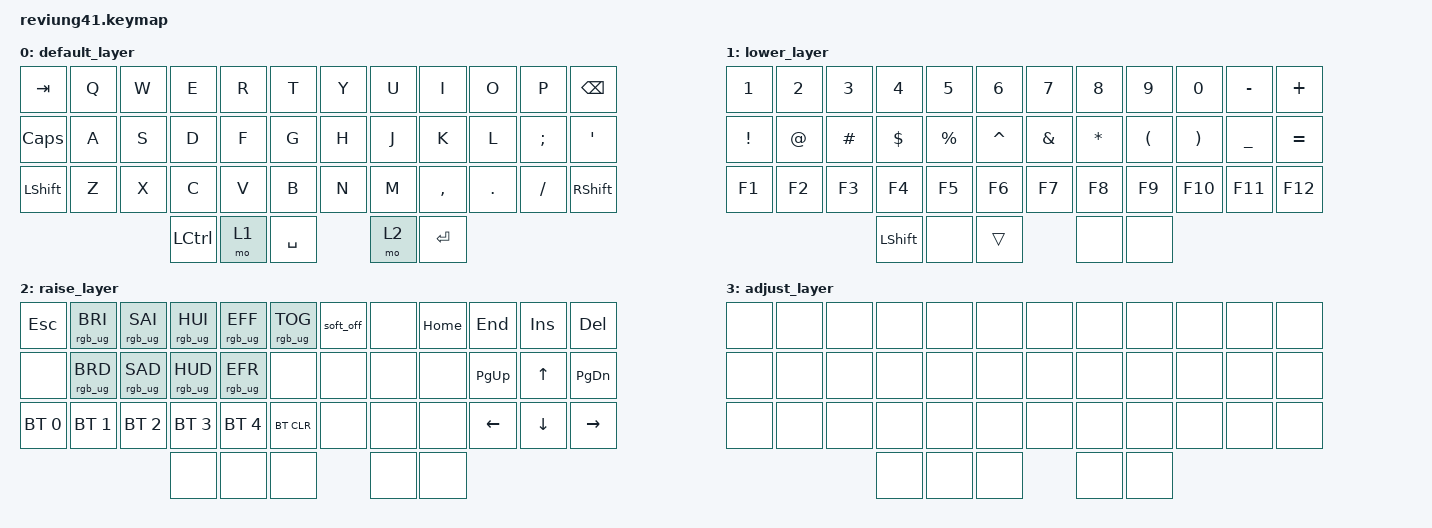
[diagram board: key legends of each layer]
#include <behaviors.dtsi>
#include <dt-bindings/zmk/keys.h>
#include <dt-bindings/zmk/bt.h>
#include <dt-bindings/zmk/rgb.h>
/ {
        keymap {
                compatible = "zmk,keymap";
                default_layer { bindings = <
&kp TAB       &kp Q             &kp W             &kp E             &kp R                &kp T                     &kp Y          &kp U       &kp I        &kp O         &kp P       &kp BSPC
&kp CLCK      &kp A             &kp S             &kp D             &kp F                &kp G                     &kp H          &kp J       &kp K        &kp L         &kp SEMI    &kp SQT
&kp LSHFT     &kp Z             &kp X             &kp C             &kp V                &kp B                     &kp N          &kp M       &kp COMMA    &kp DOT       &kp FSLH    &kp RSHFT
                                                  &kp LCTRL         &mo 1                            &kp SPACE                    &mo 2       &kp RET

                        >;      };                lower_layer {     bindings = <
&kp N1        &kp N2            &kp N3            &kp N4            &kp N5               &kp N6                    &kp N7        &kp N8       &kp N9       &kp N0        &kp MINUS   &kp PLUS
&kp EXCL      &kp AT            &kp HASH          &kp DLLR          &kp PRCNT            &kp CARET                 &kp AMPS      &kp ASTRK    &kp LPAR     &kp RPAR      &kp UNDER   &kp EQUAL 
&kp F1        &kp F2            &kp F3            &kp F4            &kp F5               &kp F6                    &kp F7        &kp F8       &kp F9       &kp F10       &kp F11     &kp F12
                                                  &kp LSHFT         &none                            &trans                      &none        &none

                        >;      };                raise_layer {     bindings = < 
&kp ESC       &rgb_ug RGB_BRI   &rgb_ug RGB_SAI   &rgb_ug RGB_HUI   &rgb_ug RGB_EFF      &rgb_ug RGB_TOG           &soft_off     &none        &kp HOME     &kp END       &kp INS      &kp DEL        
&none         &rgb_ug RGB_BRD   &rgb_ug RGB_SAD   &rgb_ug RGB_HUD   &rgb_ug RGB_EFR      &none                     &none         &none        &none        &kp PG_UP     &kp UP       &kp PG_DN   
&bt BT_SEL 0  &bt BT_SEL 1      &bt BT_SEL 2      &bt BT_SEL 3      &bt BT_SEL 4         &bt BT_CLR                &none         &none        &none        &kp LEFT      &kp DOWN     &kp RIGHT
                                                  &none             &none                            &none                       &none        &none 

                        >;      };                adjust_layer {    bindings = <
 &none        &none             &none             &none             &none                &none                     &none         &none        &none        &none         &none        &none     
 &none        &none             &none             &none             &none                &none                     &none         &none        &none        &none         &none        &none     
 &none        &none             &none             &none             &none                &none                     &none         &none        &none        &none         &none        &none     
                                                  &none             &none                             &none                      &none        &none     
                        >;  };  }; };
